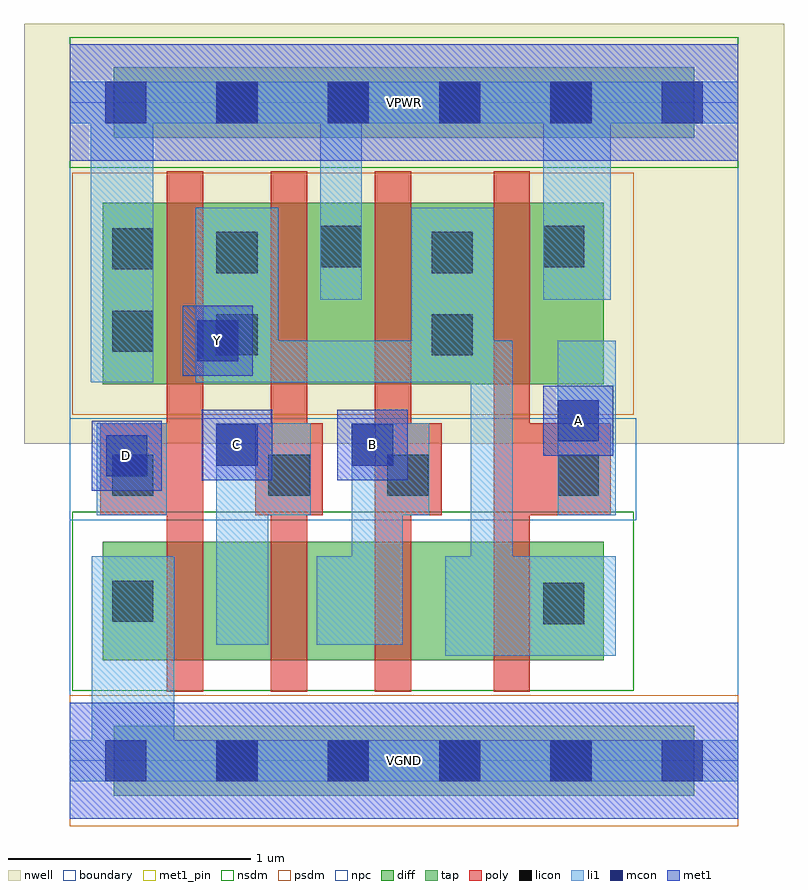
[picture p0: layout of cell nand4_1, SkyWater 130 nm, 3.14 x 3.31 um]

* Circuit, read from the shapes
.subckt nand4_1 A B C D VGND VPWR Y
XM1 n1 D VGND VGND sky130_fd_pr__nfet_01v8 w=0.49 l=0.15
XM2 n2 C n1 VGND sky130_fd_pr__nfet_01v8 w=0.49 l=0.15
XM3 n3 B n2 VGND sky130_fd_pr__nfet_01v8 w=0.49 l=0.15
XM4 Y A n3 VGND sky130_fd_pr__nfet_01v8 w=0.49 l=0.15
XM5 Y D VPWR VPWR sky130_fd_pr__pfet_01v8 w=0.75 l=0.15
XM6 VPWR C Y VPWR sky130_fd_pr__pfet_01v8 w=0.75 l=0.15
XM7 Y B VPWR VPWR sky130_fd_pr__pfet_01v8 w=0.75 l=0.15
XM8 VPWR A Y VPWR sky130_fd_pr__pfet_01v8 w=0.75 l=0.15
.ends

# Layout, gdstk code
import gdstk
lib = gdstk.Library(unit=1e-6, precision=1e-09)
def R(c, l, rs):  # rectangles x0, y0, x1, y1
    for r in rs: c.add(gdstk.rectangle(r[:2], r[2:], *l))
def A(c, l, x, y, w, h, nx, ny, dx, dy):  # array of equal rectangles
    R(c, l, [(x+i*dx, y+j*dy, x+i*dx+w, y+j*dy+h) for i in range(nx) for j in range(ny)])
nwell = (64, 20)
diff = (65, 20)
tap = (65, 44)
poly = (66, 20)
licon = (66, 44)
li1 = (67, 20)
mcon = (67, 44)
met1_pin = (68, 16)
met1 = (68, 20)
nsdm = (93, 44)
psdm = (94, 20)
npc = (95, 20)
boundary = (235, 4)

nand4_1 = lib.new_cell('nand4_1')
R(nand4_1, nwell, [(-0.19,1.31,2.95,3.045), (0,1.31,2.76,3.045)])
R(nand4_1, diff, [(0.135,0.415,2.205,0.905), (0.135,1.555,2.205,2.305)])
R(nand4_1, tap, [(0.18,-0.145,2.58,0.145), (0.18,2.575,2.58,2.865)])
A(nand4_1, poly, 0.4, 0.285, 0.15, 2.15, 3, 1, 0.43, 0)
R(nand4_1, poly, [(1.75,0.285,1.9,2.435), (0.125,1.015,0.55,1.395), (0.765,1.015,1.045,1.395), (1.26,1.015,1.535,1.395), (1.75,1.015,2.235,1.395)])
A(nand4_1, licon, 0.605, -0.085, 0.17, 0.17, 4, 2, 0.46, 2.72)
R(nand4_1, licon, [(1.955,0.565,2.125,0.735), (0.175,0.575,0.345,0.745), (0.175,1.095,0.345,1.265), (0.82,1.095,0.99,1.265), (1.31,1.095,1.48,1.265), (2.015,1.095,2.185,1.265), (0.605,1.675,0.775,1.845), (1.495,1.675,1.665,1.845), (0.175,1.69,0.345,1.86), (0.605,2.015,0.775,2.185), (1.495,2.015,1.665,2.185), (0.175,2.03,0.345,2.2), (1.035,2.04,1.205,2.21), (1.955,2.04,2.125,2.21)])
R(nand4_1, li1, [(0,-0.085,2.76,0.085), (0.09,-0.085,0.43,0.845), (1.55,0.435,2.255,0.845), (1.655,0.435,1.83,1.735), (0.605,0.48,0.82,1.395), (1.02,0.48,1.375,0.845), (1.165,0.48,1.375,1.395), (0.11,1.015,0.4,1.395), (0.605,1.015,0.995,1.395), (1.165,1.015,1.485,1.395), (2.015,1.015,2.255,1.735), (0.085,1.565,0.345,2.805), (0.52,1.565,0.86,2.285), (0.52,1.565,1.83,1.735), (1.41,1.565,1.75,2.285), (1.035,1.905,1.205,2.805), (1.955,1.905,2.235,2.805), (0,2.635,2.76,2.805)])
A(nand4_1, mcon, 0.145, -0.085, 0.17, 0.17, 6, 2, 0.46, 2.72)
R(nand4_1, mcon, [(0.15,1.175,0.32,1.345), (0.605,1.22,0.775,1.39), (1.165,1.22,1.335,1.39), (2.015,1.32,2.185,1.49), (0.525,1.65,0.695,1.82)])
R(nand4_1, met1_pin, [(0,-0.24,2.76,0.24), (0.09,1.115,0.38,1.405), (0.545,1.16,0.835,1.45), (1.105,1.16,1.395,1.45), (1.955,1.26,2.245,1.55), (0.465,1.59,0.755,1.88), (0,2.48,2.76,2.96)])
R(nand4_1, met1, [(0,-0.24,2.76,0.24), (0.09,1.115,0.38,1.405), (0.545,1.16,0.835,1.45), (1.105,1.16,1.395,1.45), (1.955,1.26,2.245,1.55), (0.465,1.59,0.755,1.88), (0,2.48,2.76,2.96)])
R(nand4_1, nsdm, [(0.01,0.29,2.33,1.03), (0,2.45,2.76,2.99)])
R(nand4_1, psdm, [(0,-0.27,2.76,0.27), (0.01,1.43,2.33,2.43)])
R(nand4_1, npc, [(0,0.995,2.34,1.415)])
R(nand4_1, boundary, [(0,0,2.76,2.72)])
nand4_1.add(gdstk.Label('A', (2.1,1.405), layer=68, texttype=5))
nand4_1.add(gdstk.Label('B', (1.25,1.305), layer=68, texttype=5))
nand4_1.add(gdstk.Label('C', (0.69,1.305), layer=68, texttype=5))
nand4_1.add(gdstk.Label('D', (0.235,1.26), layer=68, texttype=5))
nand4_1.add(gdstk.Label('Y', (0.61,1.735), layer=68, texttype=5))
nand4_1.add(gdstk.Label('VPWR', (1.38,2.72), layer=68, texttype=5))
nand4_1.add(gdstk.Label('VGND', (1.38,0), layer=68, texttype=5))
nand4_1.add(gdstk.Label('A', (2.1,1.405), layer=68, texttype=16))
nand4_1.add(gdstk.Label('B', (1.25,1.305), layer=68, texttype=16))
nand4_1.add(gdstk.Label('C', (0.69,1.305), layer=68, texttype=16))
nand4_1.add(gdstk.Label('D', (0.235,1.26), layer=68, texttype=16))
nand4_1.add(gdstk.Label('Y', (0.61,1.735), layer=68, texttype=16))
nand4_1.add(gdstk.Label('VPWR', (1.38,2.72), layer=68, texttype=16))
nand4_1.add(gdstk.Label('VGND', (1.38,0), layer=68, texttype=16))

lib.write_gds('nand4_1.gds')
